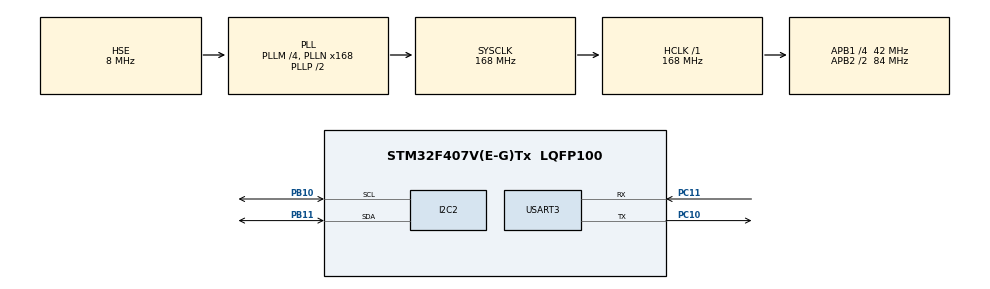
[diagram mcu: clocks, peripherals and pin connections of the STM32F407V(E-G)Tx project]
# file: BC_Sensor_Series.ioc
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Mcu.Family=STM32F4
Mcu.Name=STM32F407V(E-G)Tx
Mcu.Package=LQFP100
NVIC.PriorityGroup=NVIC_PRIORITYGROUP_4
PB10.Mode=I2C
PB10.Signal=I2C2_SCL
PB11.Mode=I2C
PB11.Signal=I2C2_SDA
PC10.Mode=Asynchronous
PC10.Signal=USART3_TX
PC11.Mode=Asynchronous
PC11.Signal=USART3_RX
PH0-OSC_IN.Mode=HSE-External-Oscillator
PH0-OSC_IN.Signal=RCC_OSC_IN
PH1-OSC_OUT.Mode=HSE-External-Oscillator
PH1-OSC_OUT.Signal=RCC_OSC_OUT
ProjectManager.HeapSize=0x200
ProjectManager.StackSize=0x400
ProjectManager.TargetToolchain=MDK-ARM V5
RCC.48MHZClocksFreq_Value=84000000
RCC.AHBFreq_Value=168000000
RCC.APB1CLKDivider=RCC_HCLK_DIV4
RCC.APB1Freq_Value=42000000
RCC.APB1TimFreq_Value=84000000
RCC.APB2CLKDivider=RCC_HCLK_DIV2
RCC.APB2Freq_Value=84000000
RCC.APB2TimFreq_Value=168000000
RCC.CortexFreq_Value=168000000
RCC.HCLKFreq_Value=168000000
RCC.HSE_VALUE=8000000
RCC.HSI_VALUE=16000000
RCC.LSE_VALUE=32768
RCC.PLLM=4
RCC.PLLN=168
RCC.PLLSourceVirtual=RCC_PLLSOURCE_HSE
RCC.SYSCLKFreq_VALUE=168000000
RCC.SYSCLKSource=RCC_SYSCLKSOURCE_PLLCLK
RCC.VCOOutputFreq_Value=336000000
USART3.VirtualMode=VM_ASYNC
board=custom

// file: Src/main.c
/* USER CODE BEGIN Header */
/**
  ******************************************************************************
  * @file           : main.c
  * @brief          : Main program body
  ******************************************************************************
  ** This notice applies to any and all portions of this file
  * that are not between comment pairs USER CODE BEGIN and
  * USER CODE END. Other portions of this file, whether
  * inserted by the user or by software development tools
  * are owned by their respective copyright owners.
  *
  * COPYRIGHT(c) 2019 STMicroelectronics
  *
  * Redistribution and use in source and binary forms, with or without modification,
  * are permitted provided that the following conditions are met:
  *   1. Redistributions of source code must retain the above copyright notice,
  *      this list of conditions and the following disclaimer.
  *   2. Redistributions in binary form must reproduce the above copyright notice,
  *      this list of conditions and the following disclaimer in the documentation
  *      and/or other materials provided with the distribution.
  *   3. Neither the name of STMicroelectronics nor the names of its contributors
  *      may be used to endorse or promote products derived from this software
  *      without specific prior written permission.
  *
  * THIS SOFTWARE IS PROVIDED BY THE COPYRIGHT HOLDERS AND CONTRIBUTORS "AS IS"
  * AND ANY EXPRESS OR IMPLIED WARRANTIES, INCLUDING, BUT NOT LIMITED TO, THE
  * IMPLIED WARRANTIES OF MERCHANTABILITY AND FITNESS FOR A PARTICULAR PURPOSE ARE
  * DISCLAIMED. IN NO EVENT SHALL THE COPYRIGHT HOLDER OR CONTRIBUTORS BE LIABLE
  * FOR ANY DIRECT, INDIRECT, INCIDENTAL, SPECIAL, EXEMPLARY, OR CONSEQUENTIAL
  * DAMAGES (INCLUDING, BUT NOT LIMITED TO, PROCUREMENT OF SUBSTITUTE GOODS OR
  * SERVICES; LOSS OF USE, DATA, OR PROFITS; OR BUSINESS INTERRUPTION) HOWEVER
  * CAUSED AND ON ANY THEORY OF LIABILITY, WHETHER IN CONTRACT, STRICT LIABILITY,
  * OR TORT (INCLUDING NEGLIGENCE OR OTHERWISE) ARISING IN ANY WAY OUT OF THE USE
  * OF THIS SOFTWARE, EVEN IF ADVISED OF THE POSSIBILITY OF SUCH DAMAGE.
  *
  ******************************************************************************
  */
/* USER CODE END Header */

#include "main.h"

/* USER CODE BEGIN Includes */
#include <stdio.h>
#include "BCACC316G.h"
#include "BCALS083K.h"
#include "BCAQS1187.h"
#include "BCDPDC100.h"
#include "BCHTS4085.h"

/* USER CODE END Includes */

/* USER CODE BEGIN PD */
#define BCACC316G_ADDR 0x53 //ADXL343
#define BCALS083K_ADDR 0x44 //OPT3001Q1
#define BCAQS1187_ADDR 0x5A  //CSS811
#define BCDPDC100_ADDR 0x39	//TMD2671
#define BCHTS4085_ADDR 0x40 //HDC2010

/* USER CODE END PD */

I2C_HandleTypeDef hi2c2;

UART_HandleTypeDef huart3;

/* USER CODE BEGIN PV */
void sensorInitialize(void);
void readSensorData(void);

int fputc(int ch, FILE *f)
{
	HAL_UART_Transmit(&huart3, (uint8_t *)&ch, 1, 0xFFFF);

	return ch;
}
/* USER CODE END PV */

void SystemClock_Config(void);
static void MX_GPIO_Init(void);
static void MX_I2C2_Init(void);
static void MX_USART3_UART_Init(void);

int main(void)
{

  /* MCU Configuration--------------------------------------------------------*/

  /* Reset of all peripherals, Initializes the Flash interface and the Systick. */
  HAL_Init();

  /* Configure the system clock */
  SystemClock_Config();

  /* Initialize all configured peripherals */
  MX_GPIO_Init();
  MX_I2C2_Init();
  MX_USART3_UART_Init();
  /* USER CODE BEGIN 2 */
	sensorInitialize();
  /* USER CODE END 2 */

  /* Infinite loop */
  /* USER CODE BEGIN WHILE */
  while (1)
  {
		readSensorData();
		HAL_Delay(1000);
    /* USER CODE END WHILE */

  }
}

void SystemClock_Config(void)
{
  RCC_OscInitTypeDef RCC_OscInitStruct = {0};
  RCC_ClkInitTypeDef RCC_ClkInitStruct = {0};

  /**Configure the main internal regulator output voltage
  */
  __HAL_RCC_PWR_CLK_ENABLE();
  __HAL_PWR_VOLTAGESCALING_CONFIG(PWR_REGULATOR_VOLTAGE_SCALE1);
  /**Initializes the CPU, AHB and APB busses clocks
  */
  RCC_OscInitStruct.OscillatorType = RCC_OSCILLATORTYPE_HSE;
  RCC_OscInitStruct.HSEState = RCC_HSE_ON;
  RCC_OscInitStruct.PLL.PLLState = RCC_PLL_ON;
  RCC_OscInitStruct.PLL.PLLSource = RCC_PLLSOURCE_HSE;
  RCC_OscInitStruct.PLL.PLLM = 4;
  RCC_OscInitStruct.PLL.PLLN = 168;
  RCC_OscInitStruct.PLL.PLLP = RCC_PLLP_DIV2;
  RCC_OscInitStruct.PLL.PLLQ = 4;
  if (HAL_RCC_OscConfig(&RCC_OscInitStruct) != HAL_OK)
  {
    Error_Handler();
  }
  /**Initializes the CPU, AHB and APB busses clocks
  */
  RCC_ClkInitStruct.ClockType = RCC_CLOCKTYPE_HCLK|RCC_CLOCKTYPE_SYSCLK
                              |RCC_CLOCKTYPE_PCLK1|RCC_CLOCKTYPE_PCLK2;
  RCC_ClkInitStruct.SYSCLKSource = RCC_SYSCLKSOURCE_PLLCLK;
  RCC_ClkInitStruct.AHBCLKDivider = RCC_SYSCLK_DIV1;
  RCC_ClkInitStruct.APB1CLKDivider = RCC_HCLK_DIV4;
  RCC_ClkInitStruct.APB2CLKDivider = RCC_HCLK_DIV2;

  if (HAL_RCC_ClockConfig(&RCC_ClkInitStruct, FLASH_LATENCY_5) != HAL_OK)
  {
    Error_Handler();
  }
}

static void MX_I2C2_Init(void)
{

  hi2c2.Instance = I2C2;
  hi2c2.Init.ClockSpeed = 100000;
  hi2c2.Init.DutyCycle = I2C_DUTYCYCLE_2;
  hi2c2.Init.OwnAddress1 = 0;
  hi2c2.Init.AddressingMode = I2C_ADDRESSINGMODE_7BIT;
  hi2c2.Init.DualAddressMode = I2C_DUALADDRESS_DISABLE;
  hi2c2.Init.OwnAddress2 = 0;
  hi2c2.Init.GeneralCallMode = I2C_GENERALCALL_DISABLE;
  hi2c2.Init.NoStretchMode = I2C_NOSTRETCH_DISABLE;
  if (HAL_I2C_Init(&hi2c2) != HAL_OK)
  {
    Error_Handler();
  }

}

static void MX_USART3_UART_Init(void)
{

  huart3.Instance = USART3;
  huart3.Init.BaudRate = 115200;
  huart3.Init.WordLength = UART_WORDLENGTH_8B;
  huart3.Init.StopBits = UART_STOPBITS_1;
  huart3.Init.Parity = UART_PARITY_NONE;
  huart3.Init.Mode = UART_MODE_TX_RX;
  huart3.Init.HwFlowCtl = UART_HWCONTROL_NONE;
  huart3.Init.OverSampling = UART_OVERSAMPLING_16;
  if (HAL_UART_Init(&huart3) != HAL_OK)
  {
    Error_Handler();
  }

}

static void MX_GPIO_Init(void)
{

  /* GPIO Ports Clock Enable */
  __HAL_RCC_GPIOH_CLK_ENABLE();
  __HAL_RCC_GPIOB_CLK_ENABLE();
  __HAL_RCC_GPIOC_CLK_ENABLE();

}

/* USER CODE BEGIN 4 */
void sensorInitialize(void){

	/*BCACC316G sensorInitialize*/
  printf("[BCACC316G] 3axis accletormeter Enabled\n\r");

	BCACC316G_init(BCACC316G_ADDR, &hi2c2);

	BCACC316G_powerOn();

  //set activity/ inactivity thresholds (0-255)
  BCACC316G_setActivityThreshold(75); //62.5mg per increment
  BCACC316G_setInactivityThreshold(75); //62.5mg per increment
  BCACC316G_setTimeInactivity(10); // how many seconds of no activity is inactive?

  //look of activity movement on this axes - 1 == on; 0 == off
  BCACC316G_setActivityX(1);
  BCACC316G_setActivityY(1);
  BCACC316G_setActivityZ(1);

  //look of inactivity movement on this axes - 1 == on; 0 == off
  BCACC316G_setInactivityX(1);
  BCACC316G_setInactivityY(1);
  BCACC316G_setInactivityZ(1);

  //look of tap movement on this axes - 1 == on; 0 == off
  BCACC316G_setTapDetectionOnX(0);
  BCACC316G_setTapDetectionOnY(0);
  BCACC316G_setTapDetectionOnZ(1);

  //set values for what is a tap, and what is a double tap (0-255)
  BCACC316G_setTapThreshold(50); //62.5mg per increment
  BCACC316G_setTapDuration(15); //625レs per increment
  BCACC316G_setDoubleTapLatency(80); //1.25ms per increment
  BCACC316G_setDoubleTapWindow(200); //1.25ms per increment

  //set values for what is considered freefall (0-255)
  BCACC316G_setFreeFallThreshold(7); //(5 - 9) recommended - 62.5mg per increment
  BCACC316G_setFreeFallDuration(45); //(20 - 70) recommended - 5ms per increment

  //setting all interupts to take place on int pin 1
  //I had issues with int pin 2, was unable to reset it
  BCACC316G_setInterruptMapping( BCACC316G_INT_SINGLE_TAP_BIT, BCACC316G_INT1_PIN );
  BCACC316G_setInterruptMapping( BCACC316G_INT_DOUBLE_TAP_BIT, BCACC316G_INT1_PIN );
  BCACC316G_setInterruptMapping( BCACC316G_INT_FREE_FALL_BIT, BCACC316G_INT1_PIN );
  BCACC316G_setInterruptMapping( BCACC316G_INT_ACTIVITY_BIT, BCACC316G_INT1_PIN );
  BCACC316G_setInterruptMapping( BCACC316G_INT_INACTIVITY_BIT, BCACC316G_INT1_PIN );

  //register interupt actions - 1 == on; 0 == off
  BCACC316G_setInterrupt( BCACC316G_INT_SINGLE_TAP_BIT, 1);
  BCACC316G_setInterrupt( BCACC316G_INT_DOUBLE_TAP_BIT, 1);
  BCACC316G_setInterrupt( BCACC316G_INT_FREE_FALL_BIT, 1);
  BCACC316G_setInterrupt( BCACC316G_INT_ACTIVITY_BIT, 1);
  BCACC316G_setInterrupt( BCACC316G_INT_INACTIVITY_BIT, 1);

  printf("Initialized BC Sensors Series\n\r");
  printf("\n\r");
  printf("\n\r");

	/* BCALS083K sensorinitialize */
	printf("[BCALS083K] Ambient Light Sensor Enabled\n\r");

	BCALS083K_init(BCALS083K_ADDR, &hi2c2);
  BCALS083K_setRange(12); //Auto full scale

	BCALS083K_setTime(1);   //set time 800ms
	HAL_Delay(20);
  BCALS083K_setMode(BCALS083K_CONTINUOUS);
  BCALS083K_setPolarity(BCALS083K_ACTIVE_HIGH);
  BCALS083K_setLatch(BCALS083K_WINDOW_STYLE);
  BCALS083K_setMaskExponent(1); //Range set to less than 14
  BCALS083K_setFaultCount(BCALS083K_FAULT_CNT_ONE);

  printf("Initialized BC Sensors Series\n\r");
  printf("\n\r");
  printf("\n\r");

	/*BCAQS1187 sensorInitialize*/
	printf("[BCAQS1187] Indoor Air Quarity Sensor Enabled\n\r");

	BCAQS1187_init(BCAQS1187_ADDR, &hi2c2);
  BCAQS1187_SWReset();
  HAL_Delay(100);
  BCAQS1187_appStart();
  BCAQS1187_setThresholds((uint16_t) 1500, (uint16_t) 2500, (uint8_t) 50);
  BCAQS1187_setDriveMode(BCAQS1187_DRIVE_MODE_1SEC);

  printf("Initialized BC Sensors Series\n\r");
	printf("\n\r");
	printf("\n\r");

	/*BCDPDC100 sensorInitialize*/
	printf("[BCDPDC100] Digital Proximity Detector Enabled\n\r");

	BCDPDC100_init(BCDPDC100_ADDR, &hi2c2);
  BCDPDC100_powerOn();
  BCDPDC100_enableInterruptMask();
  BCDPDC100_enableWait();
  BCDPDC100_disableProximity();
  BCDPDC100_writeAtime(0xFF);
  BCDPDC100_writePtime(0xFF);
  BCDPDC100_writeWtime(0xFF);
  BCDPDC100_setLedPower(BCDPDC100_LED100P);
  BCDPDC100_setDiode(BCDPDC100_BOTH);
  BCDPDC100_setPpulse(32);
  BCDPDC100_setLowThresold(0);
  BCDPDC100_setHighThresold(1000);
  BCDPDC100_setPersistence(10);
  BCDPDC100_enableProximity();

  printf("Initialized BC Sensors Series\n\r");
  printf("\n\r");
  printf("\n\r");

	/*BCHTS4085 sensorInitialize*/
	printf("[BCHTS4085] Temperature & Humidity Sensor Enabled\n\r");
	BCHTS4085_init(BCHTS4085_ADDR, &hi2c2);
	BCHTS4085_setTempRes(BCHTS4085_FOURTEEN_BIT);
  BCHTS4085_setHumidRes(BCHTS4085_FOURTEEN_BIT);
  BCHTS4085_setRate(BCHTS4085_ONE_HZ);
  BCHTS4085_triggerMeasurement();
	printf("Initialized BC Sensors Series\n\r");
	printf("\n\r");
	printf("\n\r");
}

void readSensorData()
{
	/* BCACC316G read Sensor Data */
  int x,y,z;
  BCACC316G_readAccel_seperate(&x, &y, &z); //read the accelerometer values and store them in variables x,y,z

  // Output x,y,z values - Commented out
  printf("[BCACC316G] x : %d   y : %d   z : %d", x, y, z);

  //Fun Stuff!
  //read interrupts source and look for triggerd actions

  //getInterruptSource clears all triggered actions after returning value
  //so do not call again until you need to recheck for triggered actions
  uint8_t interrupts = BCACC316G_getInterruptSource(0, 0);

  // freefall
  if(BCACC316G_triggered(interrupts, BCACC316G_FREE_FALL))
  {
      printf(" (freefall)");
  }

  //inactivity
  if(BCACC316G_triggered(interrupts, BCACC316G_INACTIVITY))
  {
      printf(" (inactivity)");
  }

  //activity
  if(BCACC316G_triggered(interrupts, BCACC316G_ACTIVITY))
  {
      printf(" (activity)");
  }

  //double tap
  if(BCACC316G_triggered(interrupts, BCACC316G_DOUBLE_TAP))
  {
      printf(" (double tap)");
  }

  //tap
  if(BCACC316G_triggered(interrupts, BCACC316G_SINGLE_TAP))
  {
      printf("(tap)");
  }
  printf("\n\r");

	/* BCALS083K read Sensor Data */
	printf("[BCALS083K] ALS : %0.2f lux\n\r", BCALS083K_readResult());

	/* BCAQS1187 read Sensor Data */
	BCAQS1187_readResultData();
  printf("[BCAQS1187] TVOC : %d ppb     eCO2 :  %d ppm\n\r", BCAQS1187_getTVOC(), BCAQS1187_geteCO2());

	/* BCDPDC100 read Sensor Data */
	printf("[BCDPDC100] Proximity ADC : %d", BCDPDC100_readProximityAdc());

   if(BCDPDC100_readInterrupt())//Proximity inturrupt
  {
		printf(" (proximity) ");
  }
	printf("\n\r");

		/* BCHTS4085 read Sensor Data */
		printf("[BCHTS4085] Temp : %0.2f  C   Humid : %0.2f %%\n\r", BCHTS4085_readTemp(), BCHTS4085_readHumidity());

	printf("\n\r");
}
/* USER CODE END 4 */

void Error_Handler(void)
{
}

/************************ (C) COPYRIGHT STMicroelectronics *****END OF FILE****/
